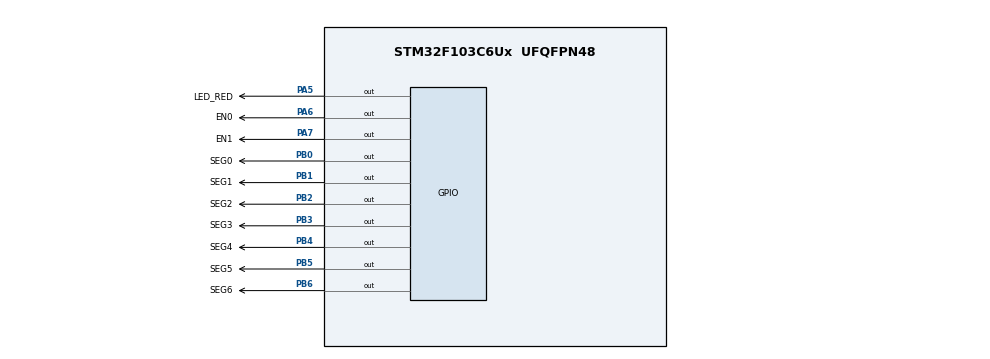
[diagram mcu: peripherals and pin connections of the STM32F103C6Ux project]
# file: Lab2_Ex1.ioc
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Mcu.Family=STM32F1
Mcu.Name=STM32F103C6Ux
Mcu.Package=UFQFPN48
NVIC.PriorityGroup=NVIC_PRIORITYGROUP_4
NVIC.TIM2_IRQn=true\:0\:0\:false\:false\:true\:false\:true
PA13.Mode=Serial_Wire
PA13.Signal=SYS_JTMS-SWDIO
PA14.Mode=Serial_Wire
PA14.Signal=SYS_JTCK-SWCLK
PA5.GPIO_Label=LED_RED
PA5.PinState=GPIO_PIN_SET
PA5.Signal=GPIO_Output
PA6.GPIO_Label=EN0
PA6.PinState=GPIO_PIN_SET
PA6.Signal=GPIO_Output
PA7.GPIO_Label=EN1
PA7.PinState=GPIO_PIN_SET
PA7.Signal=GPIO_Output
PB0.GPIO_Label=SEG0
PB0.PinState=GPIO_PIN_SET
PB0.Signal=GPIO_Output
PB1.GPIO_Label=SEG1
PB1.PinState=GPIO_PIN_SET
PB1.Signal=GPIO_Output
PB2.GPIO_Label=SEG2
PB2.PinState=GPIO_PIN_SET
PB2.Signal=GPIO_Output
PB3.GPIO_Label=SEG3
PB3.PinState=GPIO_PIN_SET
PB3.Signal=GPIO_Output
PB4.GPIO_Label=SEG4
PB4.PinState=GPIO_PIN_SET
PB4.Signal=GPIO_Output
PB5.GPIO_Label=SEG5
PB5.PinState=GPIO_PIN_SET
PB5.Signal=GPIO_Output
PB6.GPIO_Label=SEG6
PB6.PinState=GPIO_PIN_SET
PB6.Signal=GPIO_Output
ProjectManager.HeapSize=0x200
ProjectManager.StackSize=0x400
ProjectManager.TargetToolchain=STM32CubeIDE
RCC.APB1Freq_Value=8000000
RCC.APB2Freq_Value=8000000
TIM2.Period=9
TIM2.Prescaler=7999
VP_TIM2_VS_ClockSourceINT.Mode=Internal
board=custom

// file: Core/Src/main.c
/* USER CODE BEGIN Header */
/**
  ******************************************************************************
  * @file           : main.c
  * @brief          : Main program body
  *                   Lab 2 - Exercise 1 - Quet 2 LED 7 doan, hien so 1 va 2
  ******************************************************************************
  * @attention
  *
  * <h2><center>&copy; Copyright (c) 2026 STMicroelectronics.
  * All rights reserved.</center></h2>
  *
  * This software component is licensed by ST under BSD 3-Clause license,
  * the "License"; You may not use this file except in compliance with the
  * License. You may obtain a copy of the License at:
  *                        opensource.org/licenses/BSD-3-Clause
  *
  ******************************************************************************
  */
/* USER CODE END Header */
#include "main.h"

/* USER CODE BEGIN PD */
/* LED 7 doan common anode -> doan sang khi xuat muc 0 */
#define SEG_ON            GPIO_PIN_RESET
#define SEG_OFF           GPIO_PIN_SET

/* PNP: xuat muc 0 -> transistor dan -> LED 7 doan duoc cap nguon */
#define EN_ON             GPIO_PIN_RESET
#define EN_OFF            GPIO_PIN_SET

/* Moi LED sang 0,5 giay (yeu cau: switching time = half of second).
   1 ngat TIM2 = 10 ms  ->  50 nhip = 500 ms */
#define SWITCH_TIME_MS    500
#define TICKS_SWITCH      (SWITCH_TIME_MS / 10)
/* USER CODE END PD */

TIM_HandleTypeDef htim2;

void SystemClock_Config(void);
static void MX_GPIO_Init(void);
static void MX_TIM2_Init(void);

/* USER CODE BEGIN 0 */
int index_led     = 0;    /* dang sang LED nao: 0 hoac 1 */
int timer_counter = 0;    /* dem so nhip ngat 10 ms      */

/* Bang ma 7 doan, bit0..bit6 = doan a..g (kieu gfedcba).
   LED common anode: doan SANG khi chan tin hieu o muc 0. */
const uint8_t SEG_CODE[10] = {
  0x3F, 0x06, 0x5B, 0x4F, 0x66, 0x6D, 0x7D, 0x07, 0x7F, 0x6F
};

void display7SEG(int num)
{
  if (num < 0 || num > 9) return;                 /* chong tran bang    */
  for (int i = 0; i < 7; i++) {                   /* SEG0..SEG6 = PB0..PB6 */
    HAL_GPIO_WritePin(SEG0_GPIO_Port, (uint16_t)(SEG0_Pin << i),
                      ((SEG_CODE[num] >> i) & 1) ? SEG_ON : SEG_OFF);
  }
}
/* USER CODE END 0 */

int main(void)
{

  /* MCU Configuration--------------------------------------------------------*/

  /* Reset of all peripherals, Initializes the Flash interface and the Systick. */
  HAL_Init();

  /* Configure the system clock */
  SystemClock_Config();

  /* Initialize all configured peripherals */
  MX_GPIO_Init();
  MX_TIM2_Init();
  /* USER CODE BEGIN 2 */
  /* Bat ngat TIM2 - tu day cu 10 ms se nhay vao
     HAL_TIM_PeriodElapsedCallback() mot lan */
  HAL_TIM_Base_Start_IT(&htim2);
  /* USER CODE END 2 */

  /* Infinite loop */
  /* USER CODE BEGIN WHILE */
  while (1)
  {
    /* Vong lap chinh de trong: moi viec nam trong ngat TIM2 */
    /* USER CODE END WHILE */

  }
}

void SystemClock_Config(void)
{
  RCC_OscInitTypeDef RCC_OscInitStruct = {0};
  RCC_ClkInitTypeDef RCC_ClkInitStruct = {0};

  /** Initializes the RCC Oscillators according to the specified parameters
  * in the RCC_OscInitTypeDef structure.
  */
  RCC_OscInitStruct.OscillatorType = RCC_OSCILLATORTYPE_HSI;
  RCC_OscInitStruct.HSIState = RCC_HSI_ON;
  RCC_OscInitStruct.HSICalibrationValue = RCC_HSICALIBRATION_DEFAULT;
  RCC_OscInitStruct.PLL.PLLState = RCC_PLL_NONE;
  if (HAL_RCC_OscConfig(&RCC_OscInitStruct) != HAL_OK)
  {
    Error_Handler();
  }
  /** Initializes the CPU, AHB and APB buses clocks
  */
  RCC_ClkInitStruct.ClockType = RCC_CLOCKTYPE_HCLK|RCC_CLOCKTYPE_SYSCLK
                              |RCC_CLOCKTYPE_PCLK1|RCC_CLOCKTYPE_PCLK2;
  RCC_ClkInitStruct.SYSCLKSource = RCC_SYSCLKSOURCE_HSI;
  RCC_ClkInitStruct.AHBCLKDivider = RCC_SYSCLK_DIV1;
  RCC_ClkInitStruct.APB1CLKDivider = RCC_HCLK_DIV1;
  RCC_ClkInitStruct.APB2CLKDivider = RCC_HCLK_DIV1;

  if (HAL_RCC_ClockConfig(&RCC_ClkInitStruct, FLASH_LATENCY_0) != HAL_OK)
  {
    Error_Handler();
  }
}

static void MX_GPIO_Init(void)
{
  GPIO_InitTypeDef GPIO_InitStruct = {0};

  /* GPIO Ports Clock Enable */
  __HAL_RCC_GPIOA_CLK_ENABLE();
  __HAL_RCC_GPIOB_CLK_ENABLE();

  /*Configure GPIO pin Output Level */
  HAL_GPIO_WritePin(GPIOA, LED_RED_Pin|EN0_Pin|EN1_Pin, GPIO_PIN_SET);

  /*Configure GPIO pin Output Level */
  HAL_GPIO_WritePin(GPIOB, SEG0_Pin|SEG1_Pin|SEG2_Pin
                          |SEG3_Pin|SEG4_Pin|SEG5_Pin
                          |SEG6_Pin, GPIO_PIN_SET);

  /*Configure GPIO pins : LED_RED_Pin EN0_Pin EN1_Pin */
  GPIO_InitStruct.Pin = LED_RED_Pin|EN0_Pin|EN1_Pin;
  GPIO_InitStruct.Mode = GPIO_MODE_OUTPUT_PP;
  GPIO_InitStruct.Pull = GPIO_NOPULL;
  GPIO_InitStruct.Speed = GPIO_SPEED_FREQ_LOW;
  HAL_GPIO_Init(GPIOA, &GPIO_InitStruct);

  /*Configure GPIO pins : SEG0_Pin SEG1_Pin SEG2_Pin SEG3_Pin SEG4_Pin SEG5_Pin SEG6_Pin */
  GPIO_InitStruct.Pin = SEG0_Pin|SEG1_Pin|SEG2_Pin
                          |SEG3_Pin|SEG4_Pin|SEG5_Pin
                          |SEG6_Pin;
  GPIO_InitStruct.Mode = GPIO_MODE_OUTPUT_PP;
  GPIO_InitStruct.Pull = GPIO_NOPULL;
  GPIO_InitStruct.Speed = GPIO_SPEED_FREQ_LOW;
  HAL_GPIO_Init(GPIOB, &GPIO_InitStruct);

}
static void MX_TIM2_Init(void)
{

  TIM_ClockConfigTypeDef sClockSourceConfig = {0};
  TIM_MasterConfigTypeDef sMasterConfig = {0};

  htim2.Instance = TIM2;
  htim2.Init.Prescaler = 7999;
  htim2.Init.CounterMode = TIM_COUNTERMODE_UP;
  htim2.Init.Period = 9;
  htim2.Init.ClockDivision = TIM_CLOCKDIVISION_DIV1;
  htim2.Init.AutoReloadPreload = TIM_AUTORELOAD_PRELOAD_DISABLE;
  if (HAL_TIM_Base_Init(&htim2) != HAL_OK)
  {
    Error_Handler();
  }
  sClockSourceConfig.ClockSource = TIM_CLOCKSOURCE_INTERNAL;
  if (HAL_TIM_ConfigClockSource(&htim2, &sClockSourceConfig) != HAL_OK)
  {
    Error_Handler();
  }
  sMasterConfig.MasterOutputTrigger = TIM_TRGO_RESET;
  sMasterConfig.MasterSlaveMode = TIM_MASTERSLAVEMODE_DISABLE;
  if (HAL_TIMEx_MasterConfigSynchronization(&htim2, &sMasterConfig) != HAL_OK)
  {
    Error_Handler();
  }

}

/* USER CODE BEGIN 4 */
/* Ngat TIM2 - duoc goi moi 10 ms */
void HAL_TIM_PeriodElapsedCallback(TIM_HandleTypeDef *htim)
{
  if (htim->Instance == TIM2) {
    timer_counter++;
    if (timer_counter >= TICKS_SWITCH) {      /* du 500 ms chua? */
      timer_counter = 0;

      if (index_led == 0) {
        HAL_GPIO_WritePin(EN1_GPIO_Port, EN1_Pin, EN_OFF);  /* tat LED 2 truoc  */
        display7SEG(1);                                     /* dat du lieu      */
        HAL_GPIO_WritePin(EN0_GPIO_Port, EN0_Pin, EN_ON);   /* roi bat LED 1    */
      } else {
        HAL_GPIO_WritePin(EN0_GPIO_Port, EN0_Pin, EN_OFF);
        display7SEG(2);
        HAL_GPIO_WritePin(EN1_GPIO_Port, EN1_Pin, EN_ON);
      }
      index_led = 1 - index_led;
    }
  }
}
/* USER CODE END 4 */

void Error_Handler(void)
{
  __disable_irq();
  while (1)
  {
  }
}

/************************ (C) COPYRIGHT STMicroelectronics *****END OF FILE****/
